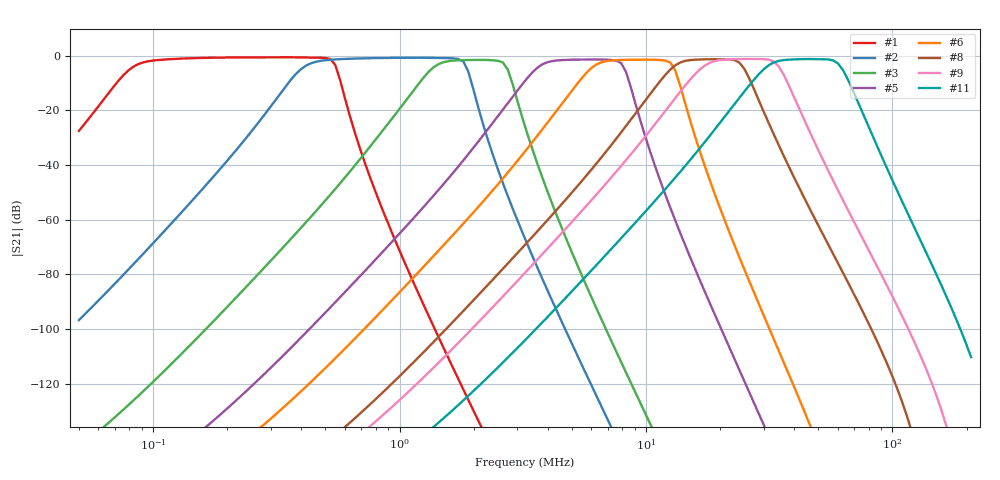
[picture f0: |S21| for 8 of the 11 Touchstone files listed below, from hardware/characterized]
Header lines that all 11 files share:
! generated_by 859cd57
# HZ S RI R 50
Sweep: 50 kHz to 208.4 MHz
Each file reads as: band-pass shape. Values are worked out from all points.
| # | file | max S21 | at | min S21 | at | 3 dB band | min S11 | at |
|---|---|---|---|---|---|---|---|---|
| 1 | bpf_1.s2p | -0.64 dB | 345.9 kHz | -196.5 dB | 4.56 MHz | 86.89 kHz-548.2 kHz | -45.4 dB | 144.2 kHz |
| 2 | bpf_2.s2p | -0.82 dB | 1.145 MHz | -197.8 dB | 15.1 MHz | 415.9 kHz-1.815 MHz | -29.4 dB | 792.4 kHz |
| 3 | bpf_3.s2p | -1.61 dB | 2.183 MHz | -198.6 dB | 21.83 MHz | 1.377 MHz-2.624 MHz | -30.4 dB | 1.734 MHz |
| 4 | bpf_4.s2p | -1.34 dB | 3.622 MHz | -196.7 dB | 36.22 MHz | 2.084 MHz-4.775 MHz | -30.6 dB | 3.972 MHz |
| 5 | bpf_5.s2p | -1.45 dB | 6.295 MHz | -196.2 dB | 54.82 MHz | 3.793 MHz-7.924 MHz | -26.6 dB | 4.56 MHz |
| 6 | bpf_6.s2p | -1.52 dB | 9.976 MHz | -198.8 dB | 173.4 MHz | 6.295 MHz-12.56 MHz | -27.2 dB | 7.568 MHz |
| 7 | bpf_7.s2p | -1.39 dB | 13.77 MHz | -198.8 dB | 50 kHz | 9.976 MHz-17.34 MHz | -27.1 dB | 11.99 MHz |
| 8 | bpf_8.s2p | -1.36 dB | 19.01 MHz | -198.9 dB | 65.91 kHz | 13.15 MHz-23.93 MHz | -26.5 dB | 15.1 MHz |
| 9 | bpf_9.s2p | -1.25 dB | 26.24 MHz | -198.1 dB | 82.98 kHz | 17.34 MHz-34.59 MHz | -29.1 dB | 20.84 MHz |
| 10 | bpf_10.s2p | -1.22 dB | 34.59 MHz | -198.7 dB | 99.76 kHz | 22.85 MHz-45.6 MHz | -32.2 dB | 27.48 MHz |
| 11 | bpf_11.s2p | -1.30 dB | 45.6 MHz | -198.2 dB | 151 kHz | 31.55 MHz-60.11 MHz | -27.0 dB | 36.22 MHz |
